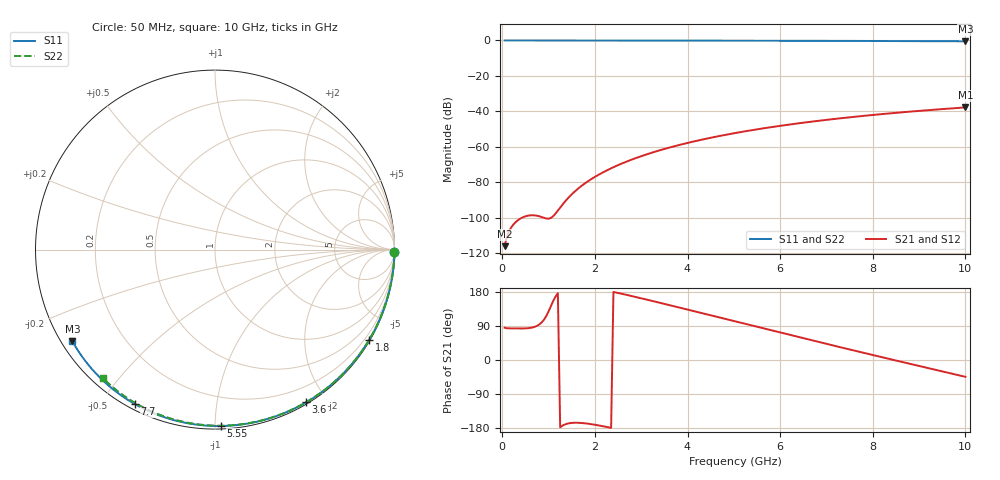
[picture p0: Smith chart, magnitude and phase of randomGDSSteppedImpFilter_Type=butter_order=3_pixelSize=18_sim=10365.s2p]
! freq	dB(S11)	phase(S11)	dB(S12)	phase(S12)
!  dB(S21)	phase(S21)	dB(S22)	phase(S22)
!S-par simulation data
#  GHz  S  DB  R 50
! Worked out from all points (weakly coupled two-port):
!   200 points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, 50 MHz to 10 GHz, reference 50 ohm
!   highest |S21| = -37.83 dB at 10 GHz (marker M1); lowest = -116.2 dB at 50 MHz (marker M2)
!   lowest |S11| = -0.5 dB at 10 GHz (marker M3), VSWR 35.16, Z = 1.54 - j14.7 ohm
!   |S11| at or under -10 dB: nowhere
!   |S22| runs from -0.4 to 0.0 dB; largest |S21 - S12| = 0
!   S11 on the Smith chart (normalised r, x): 50 MHz: open; 1.8 GHz: 0.03, -3.69; 3.6 GHz: 0.02, -1.76; 5.55 GHz: 0.02, -1.03; 7.7 GHz: 0.02, -0.61; 10 GHz: 0.03, -0.29
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0.05  -0.00 -0.9  -116.19 85.3  -116.19 85.3  -0.00 -0.8
0.45  -0.01 -7.7  -99.81 83.2  -99.81 83.2  -0.01 -6.8
0.9  -0.02 -15.3  -100.20 106.3  -100.20 106.3  -0.02 -13.5
1.3  -0.03 -22.0  -92.66 -173.2  -92.66 -173.2  -0.02 -19.5
1.75  -0.04 -29.5  -81.37 -166.7  -81.37 -166.7  -0.03 -26.1
1.8  -0.04 -30.3  -80.42 -167.3  -80.42 -167.3  -0.03 -26.8
1.85  -0.04 -31.2  -79.53 -168.1  -79.53 -168.1  -0.04 -27.6
2.05  -0.04 -34.5  -76.28 -171.9  -76.28 -171.9  -0.04 -30.5
2.2  -0.05 -36.9  -74.15 -175.4  -74.15 -175.4  -0.04 -32.7
2.55  -0.05 -42.6  -69.85 175.6  -69.85 175.6  -0.05 -37.7
2.95  -0.06 -49.0  -65.82 164.3  -65.82 164.3  -0.06 -43.4
3.4  -0.07 -56.0  -62.03 151.1  -62.03 151.1  -0.07 -49.7
3.6  -0.08 -59.1  -60.55 145.1  -60.55 145.1  -0.07 -52.5
4.3  -0.10 -69.8  -56.07 123.9  -56.07 123.9  -0.09 -62.0
5.05  -0.12 -80.9  -52.19 101.1  -52.19 101.1  -0.11 -72.0
5.55  -0.14 -88.0  -49.99 86.0  -49.99 86.0  -0.13 -78.4
6.1  -0.17 -95.8  -47.85 69.4  -47.85 69.4  -0.15 -85.3
6.7  -0.20 -104.0  -45.79 51.4  -45.79 51.4  -0.18 -92.7
7.7  -0.27 -117.4  -42.86 21.9  -42.86 21.9  -0.24 -104.7
8.35  -0.32 -125.9  -41.23 3.0  -41.23 3.0  -0.29 -112.3
9.2  -0.40 -136.9  -39.36 -21.5  -39.36 -21.5  -0.36 -122.0
10  -0.49 -147.3  -37.83 -44.4  -37.83 -44.4  -0.44 -131.0
